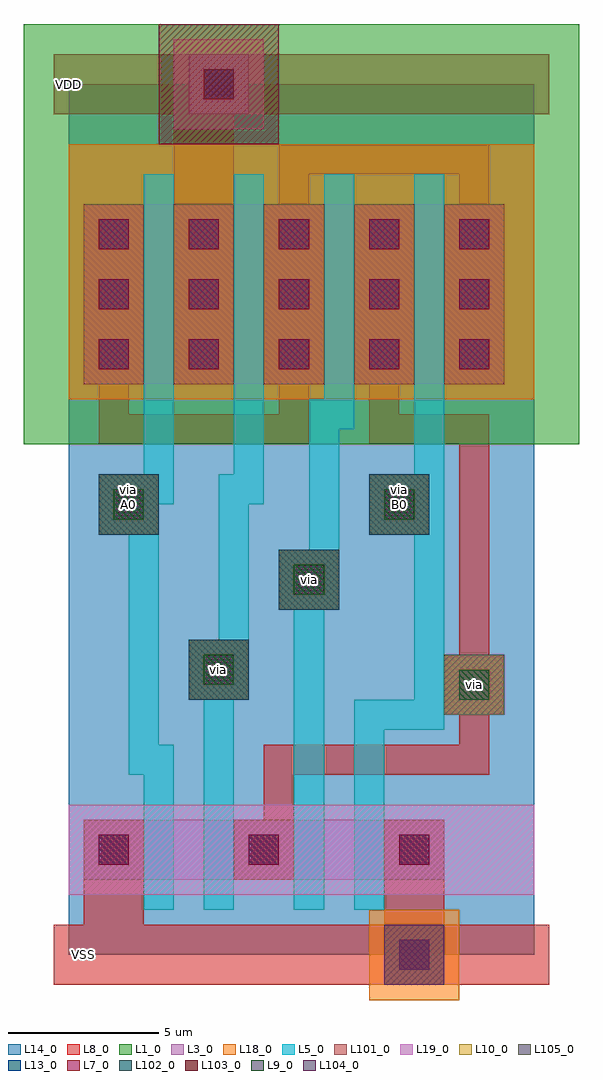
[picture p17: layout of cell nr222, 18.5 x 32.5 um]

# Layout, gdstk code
import gdstk
lib = gdstk.Library(unit=1e-6, precision=1e-09)
def R(c, l, rs):  # rectangles x0, y0, x1, y1
    for r in rs: c.add(gdstk.rectangle(r[:2], r[2:], *l))
L1_0 = (1, 0)
L3_0 = (3, 0)
L5_0 = (5, 0)
L7_0 = (7, 0)
L8_0 = (8, 0)
L9_0 = (9, 0)
L10_0 = (10, 0)
L13_0 = (13, 0)
L14_0 = (14, 0)
L18_0 = (18, 0)
L19_0 = (19, 0)
L101_0 = (101, 0)
L102_0 = (102, 0)
L103_0 = (103, 0)
L104_0 = (104, 0)
L105_0 = (105, 0)

dcont = lib.new_cell('dcont')
R(dcont, L3_0, [(-1,-1,1,1)])
R(dcont, L7_0, [(-0.5,-0.5,0.5,0.5)])
R(dcont, L8_0, [(-1,-1,1,1)])
R(dcont, L13_0, [(-0.5,-0.5,0.5,0.5)])
R(dcont, L101_0, [(-1,-1,1,1)])
dcont.add(gdstk.Label('dcont', (0,0), layer=13, texttype=0))

pcont = lib.new_cell('pcont')
R(pcont, L5_0, [(-1,-1,1,1)])
R(pcont, L7_0, [(-0.5,-0.5,0.5,0.5)])
R(pcont, L8_0, [(-1,-1,1,1)])
R(pcont, L102_0, [(-1,-1,1,1)])
pcont.add(gdstk.Label('pcont', (0,0), layer=13, texttype=0))

via = lib.new_cell('Via')
R(via, L8_0, [(-1,-1,1,1)])
R(via, L9_0, [(-0.5,-0.5,0.5,0.5)])
R(via, L10_0, [(-1,-1,1,1)])
R(via, L13_0, [(-0.5,-0.5,0.5,0.5)])
R(via, L105_0, [(-1,-1,1,1)])
via.add(gdstk.Label('via', (0,0), layer=13, texttype=0))

psubcont = lib.new_cell('psubcont')
R(psubcont, L18_0, [(-1.5,-1.5,1.5,1.5)])
R(psubcont, L104_0, [(-1,-1,1,1)])
psubcont.add(gdstk.Reference(dcont, (0,0)))
psubcont.add(gdstk.Label('PScon', (0,0), layer=13, texttype=0))

nsubcont = lib.new_cell('nsubcont')
R(nsubcont, L1_0, [(-2,-2,2,2)])
R(nsubcont, L19_0, [(-1.5,-1.5,1.5,1.5)])
R(nsubcont, L103_0, [(-2,-2,2,2)])
nsubcont.add(gdstk.Reference(dcont, (0,0)))
nsubcont.add(gdstk.Label('NScont', (0,0), layer=13, texttype=0))

nr222 = lib.new_cell('nr222')
R(nr222, L1_0, [(-1.5,17,17,31)])
R(nr222, L3_0, [(0.5,2.5,8.5,4.5), (8.5,2.5,12.5,4.5), (0.5,19,14.5,25)])
R(nr222, L8_0, [(-0.5,-1,16,1), (12.5,8,14.5,10), (4,8.5,6,10.5), (7,11.5,9,13.5), (1,14,3,16), (10,14,12,16), (-0.5,28,16,30)])
R(nr222, L10_0, [(12.5,8,14.5,10), (4,8.5,6,10.5), (7,11.5,9,13.5), (1,14,3,16), (10,14,12,16)])
R(nr222, L14_0, [(0,0,15.5,29)])
R(nr222, L18_0, [(0,18.5,15.5,27)])
R(nr222, L19_0, [(0,2,15.5,5)])
R(nr222, L105_0, [(12.5,8,14.5,10), (4,8.5,6,10.5), (7,11.5,9,13.5), (1,14,3,16), (10,14,12,16)])
nr222.add(gdstk.FlexPath([(11.5,1),(11.5,3.5)], 2, ends="extended", simple_path=True, layer=8, datatype=0))  # L8_0
nr222.add(gdstk.FlexPath([(10.5,20),(10.5,24)], 1.4, ends="extended", simple_path=True, layer=8, datatype=0))  # L8_0
nr222.add(gdstk.FlexPath([(10.5,20.5),(10.5,17.5),(13.5,17.5),(13.5,6.5),(7,6.5),(7,3.5)], 1, ends="extended", simple_path=True, layer=8, datatype=0))  # L8_0
nr222.add(gdstk.FlexPath([(1.5,24),(1.5,17.5),(7.5,17.5),(7.5,26.5),(13.5,26.5),(13.5,20)], 1, ends="extended", simple_path=True, layer=8, datatype=0))  # L8_0
nr222.add(gdstk.FlexPath([(4.5,20),(4.5,28.5)], 2, ends="extended", simple_path=True, layer=8, datatype=0))  # L8_0
nr222.add(gdstk.FlexPath([(1.5,1),(1.5,3.5)], 2, ends="extended", simple_path=True, layer=8, datatype=0))  # L8_0
nr222.add(gdstk.FlexPath([(1.5,20.8),(1.5,24)], 1.4, ends="extended", simple_path=True, layer=8, datatype=0))  # L8_0
nr222.add(gdstk.FlexPath([(3,25.5),(3,15.5),(2.5,15.5),(2.5,6.5),(3,6.5),(3,2)], 1, ends="extended", simple_path=True, layer=5, datatype=0))  # L5_0
nr222.add(gdstk.FlexPath([(6,25.5),(6,15.5),(5.5,15.5),(5.5,9.5),(5,9.5),(5,2)], 1, ends="extended", simple_path=True, layer=5, datatype=0))  # L5_0
nr222.add(gdstk.FlexPath([(9,25.5),(9,18),(8.5,18),(8.5,12.5),(8,12.5),(8,2)], 1, ends="extended", simple_path=True, layer=5, datatype=0))  # L5_0
nr222.add(gdstk.FlexPath([(12,25.5),(12,8),(10,8),(10,2)], 1, ends="extended", simple_path=True, layer=5, datatype=0))  # L5_0
nr222.add(gdstk.Reference(dcont, (10.5,24)))
nr222.add(gdstk.Reference(dcont, (10.5,20)))
nr222.add(gdstk.Reference(dcont, (6.5,3.5)))
nr222.add(gdstk.Reference(dcont, (11.5,3.5)))
nr222.add(gdstk.Reference(pcont, (8,12.5)))
nr222.add(gdstk.Reference(dcont, (13.5,24)))
nr222.add(gdstk.Reference(dcont, (1.5,24)))
nr222.add(gdstk.Reference(dcont, (7.5,20)))
nr222.add(gdstk.Reference(via, (8,12.5)))
nr222.add(gdstk.Reference(dcont, (1.5,20)))
nr222.add(gdstk.Reference(via, (13.5,9)))
nr222.add(gdstk.Reference(dcont, (7.5,22)))
nr222.add(gdstk.Reference(dcont, (13.5,22)))
nr222.add(gdstk.Reference(dcont, (4.5,22)))
nr222.add(gdstk.Reference(via, (2,15)))
nr222.add(gdstk.Reference(pcont, (2,15)))
nr222.add(gdstk.Reference(dcont, (1.5,3.5)))
nr222.add(gdstk.Reference(via, (11,15)))
nr222.add(gdstk.Reference(dcont, (13.5,20)))
nr222.add(gdstk.Reference(dcont, (10.5,22)))
nr222.add(gdstk.Reference(psubcont, (11.5,0)))
nr222.add(gdstk.Reference(nsubcont, (5,29)))
nr222.add(gdstk.Reference(dcont, (7.5,24)))
nr222.add(gdstk.Reference(dcont, (4.5,20)))
nr222.add(gdstk.Reference(via, (5,9.5)))
nr222.add(gdstk.Reference(pcont, (5,9.5)))
nr222.add(gdstk.Reference(pcont, (11,15)))
nr222.add(gdstk.Reference(dcont, (1.5,22)))
nr222.add(gdstk.Reference(dcont, (4.5,24)))
nr222.add(gdstk.Label('VDD', (0,29), layer=8, texttype=0))
nr222.add(gdstk.Label('VSS', (0.5,0), layer=8, texttype=0))
nr222.add(gdstk.Label('via', (13.5,9), layer=13, texttype=0))
nr222.add(gdstk.Label('via', (11,15.5), layer=13, texttype=0))
nr222.add(gdstk.Label('via', (8,12.5), layer=13, texttype=0))
nr222.add(gdstk.Label('via', (5,9.5), layer=13, texttype=0))
nr222.add(gdstk.Label('via', (2,15.5), layer=13, texttype=0))
nr222.add(gdstk.Label('A0', (2,15), layer=10, texttype=0))
nr222.add(gdstk.Label('A1', (5,9.5), layer=10, texttype=0))
nr222.add(gdstk.Label('B1', (8,12.5), layer=10, texttype=0))
nr222.add(gdstk.Label('B0', (11,15), layer=10, texttype=0))
nr222.add(gdstk.Label('X', (13.5,9), layer=10, texttype=0))

lib.write_gds('nr222.gds')
